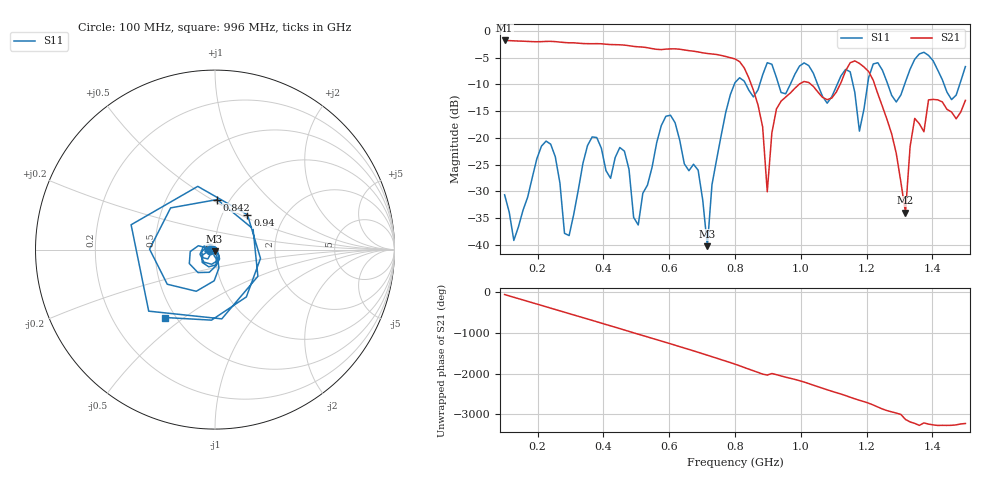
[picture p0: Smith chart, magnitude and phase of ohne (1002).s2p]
! NanoVNA-App
! Date: 2025-09-25 14:28:36
! Start: 100MHz Stop: 1,5GHz Points: 101
! S-Parameter data: F S11 S21 S12 S22
# Hz S RI R 50
!  Frequency  S11_Real  S11_Imag  S21_Real  S21_Imag  S12_Real  S12_Imag  S22_Real  S22_Imag
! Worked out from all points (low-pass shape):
!   101 points, 100 MHz to 1.5 GHz, reference 50 ohm
!   highest |S21| = -1.79 dB at 100 MHz (marker M1); lowest = -34.0 dB at 1.318 GHz (marker M2)
!   |S21| within 3 dB of the highest: start of sweep to 771.9 MHz
!   lowest |S11| = -40.2 dB at 716 MHz (marker M3), VSWR 1.02, Z = 49.7 - j0.929 ohm
!   |S11| at or under -10 dB: start of sweep to 797.9 MHz; 833.1 MHz to 875.1 MHz (42.02 MHz wide, 4.92 % of centre); 1.051 GHz to 1.111 GHz (59.59 MHz wide, 5.51 % of centre) (the widest 3 of 7)
!   S12 and S22 are empty: the file has one direction only
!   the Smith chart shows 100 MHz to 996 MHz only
!   S11 on the Smith chart (normalised r, x): 100 MHz: 0.94, -0.01; 842 MHz: 0.88, +0.53; 940 MHz: 1.31, +0.55; 996 MHz: 0.44, -0.43
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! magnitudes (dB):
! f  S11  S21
! 100 MHz  -30.6  -1.8
! 128 MHz  -39.2  -1.9
! 226 MHz  -20.6  -2.0
! 296 MHz  -38.2  -2.2
! 338 MHz  -24.7  -2.4
! 464 MHz  -22.5  -2.7
! 506 MHz  -36.3  -3.0
! 576 MHz  -17.7  -3.5
! 688 MHz  -26.0  -3.9
! 716 MHz  -40.2  -4.2
! 800 MHz  -9.7  -5.2
! 842 MHz  -11.1  -8.8
! 898 MHz  -6.0  -30.1
! 940 MHz  -11.5  -13.1
! 996 MHz  -6.6  -9.9
! 1.038 GHz  -7.9  -10.4
! 1.178 GHz  -18.7  -6.1
! 1.22 GHz  -6.2  -9.2
! 1.276 GHz  -12.1  -19.2
! 1.318 GHz  -9.5  -34.0
! 1.346 GHz  -5.3  -16.4
! 1.5 GHz  -6.7  -13.0
